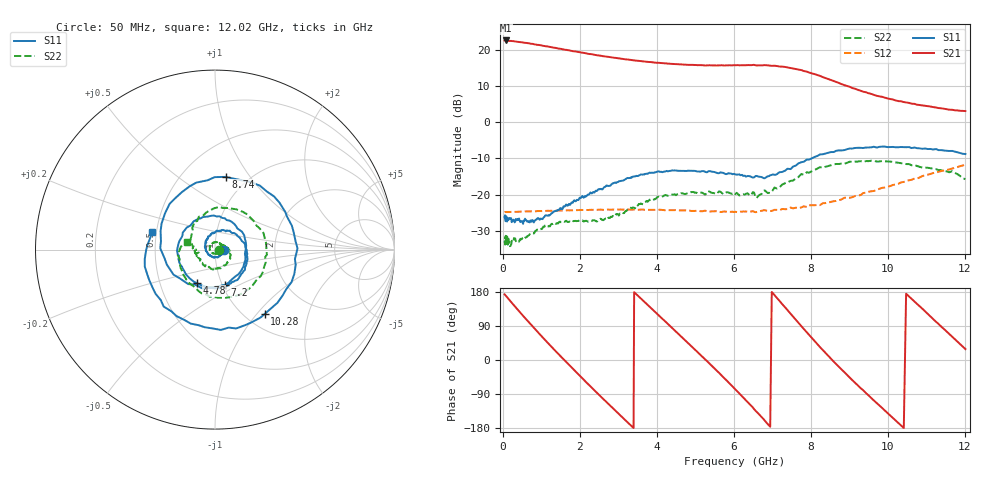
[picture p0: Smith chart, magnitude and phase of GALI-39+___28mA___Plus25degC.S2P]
! Mini-Circuits
! S2P DATA File Format
! Type: MMIC Amplifier
! Model: GALI-39  Reference Data:RDF-1232
! Note: All S Parameters are in dB deg format
! TEST CONDITIONS: INPUT POWER = -25dBm, Icc = 28mA, Vd = 3.59V @Temperature = +25degC
! 401 Frequency points
# MHz S DB R 50
!  FREQ  dB(S11)  PHS(S11)  dB(S21)  PHS(S21)  dB(S12)  PHS(S12)  dB(S22)  PHS(S22)
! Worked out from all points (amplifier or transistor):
!   401 points, 50 MHz to 12.02 GHz, reference 50 ohm
!   highest |S21| = 22.7 dB at 74 MHz (marker M1)
!   |S21| within 3 dB of that: start of sweep to 1.843 GHz
!   unconditionally stable (mu >= 1): start of sweep to end of sweep
!   at 965 MHz: K = 1.06, MAG = 21.5 dB, |S12| = -24.6 dB
!   at 3.31 GHz: K = 1.29, MAG = 17.6 dB, |S12| = -24.2 dB
!   at 12.02 GHz: K = 1.31, MAG = 4.0 dB, |S12| = -11.6 dB
!   S11 on the Smith chart (normalised r, x): 50 MHz: 1.10, -0.01; 4.78 GHz: 0.76, -0.30; 7.2 GHz: 1.03, -0.42; 8.74 GHz: 0.79, +0.77; 10.28 GHz: 1.22, -1.10; 12.02 GHz: 0.47, +0.10
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50  -26.23 -5.2  22.68 173.3  -24.88 -3.9  -33.35 -9.1
74  -27.35 -9.6  22.73 170.5  -24.86 -5.4  -32.27 -16.8
440  -27.18 -76.2  22.30 127.0  -24.77 -29.9  -32.67 -115.9
810  -27.74 -136.2  21.70 84.9  -24.65 -55.7  -30.81 177.2
1140  -25.75 -173.5  21.12 48.6  -24.54 -79.1  -28.64 123.9
1420  -24.49 153.5  20.59 18.6  -24.47 -99.1  -27.99 100.0
2050  -20.70 100.8  19.35 -46.6  -24.29 -145.3  -27.09 50.0
2525  -18.56 64.8  18.54 -94.1  -24.19 179.4  -26.84 39.4
3100  -16.15 20.6  17.65 -150.6  -24.18 135.3  -25.08 22.6
3540  -14.70 -12.4  17.06 167.3  -24.23 100.8  -22.60 7.0
4050  -13.54 -53.5  16.53 118.2  -24.23 59.3  -20.61 -22.1
4780  -13.47 -118.7  15.97 48.3  -24.45 -2.9  -19.72 -63.0
5380  -13.50 -178.1  15.86 -10.3  -24.75 -56.3  -19.23 -101.5
6040  -14.41 106.0  15.86 -76.9  -24.79 -119.1  -19.90 -138.6
6740  -15.23 2.4  15.83 -152.0  -24.49 170.5  -19.69 -167.4
7200  -13.79 -74.4  15.49 155.1  -24.33 122.2  -17.92 170.8
7620  -11.92 -140.9  14.80 105.5  -23.66 78.4  -15.52 137.9
8040  -9.89 161.3  13.59 57.1  -22.98 36.4  -13.48 103.7
8740  -7.75 81.5  10.92 -18.7  -21.54 -30.0  -11.53 41.9
10060  -6.83 -34.0  6.50 -145.8  -17.69 -149.6  -10.85 -60.7
10280  -6.89 -52.2  5.91 -166.4  -17.02 -169.2  -11.21 -77.2
12020  -8.76 164.8  3.15 28.9  -11.61 35.7  -15.71 165.0
